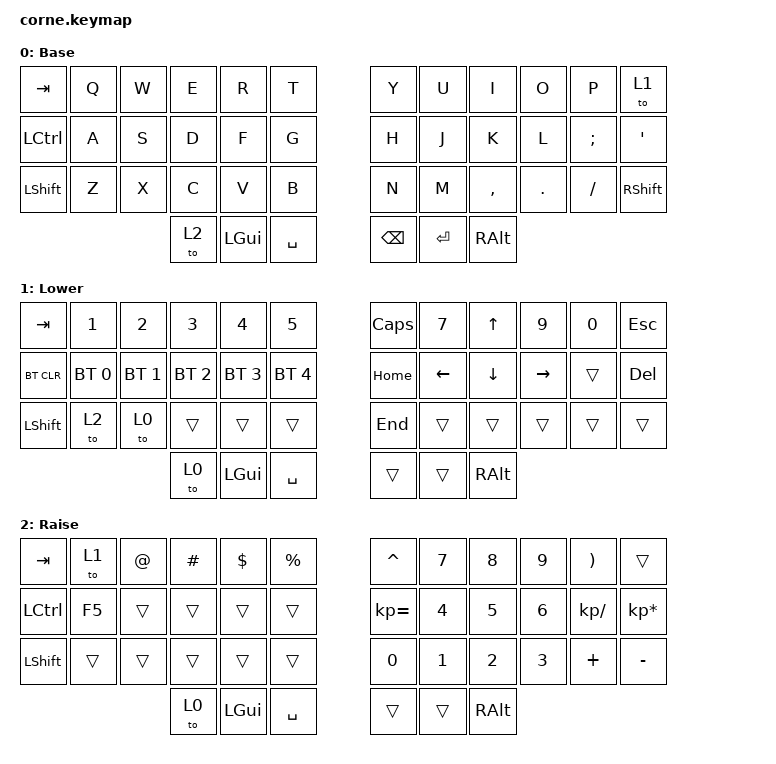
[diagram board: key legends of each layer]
/*
 * Copyright (c) 2020 The ZMK Contributors
 *
 * SPDX-License-Identifier: MIT
 */

#include <behaviors.dtsi>
#include <dt-bindings/zmk/keys.h>
#include <dt-bindings/zmk/bt.h>

/ {
        keymap {
                compatible = "zmk,keymap";

                default_layer {
// -----------------------------------------------------------------------------------------
// |  TAB |  Q  |  W  |  E  |  R  |  T  |   |  Y  |  U   |  I  |  O  |  P  | LWR  |
// | CTRL |  A  |  S  |  D  |  F  |  G  |   |  H  |  J   |  K  |  L  |  ;  |  '   |
// | SHFT |  Z  |  X  |  C  |  V  |  B  |   |  N  |  M   |  ,  |  .  |  /  | SHFT |
//                    | LWR | GUI | SPC |   | BCK | ENT  | ALT |
                        display-name = "Base";
                        bindings = <
   &kp TAB   &kp Q &kp W &kp E &kp R &kp T       &kp Y &kp U  &kp I     &kp O   &kp P    &to 1
   &kp LCTRL &kp A &kp S &kp D &kp F &kp G       &kp H &kp J  &kp K     &kp L   &kp SEMI &kp SQT
   &kp LSHFT &kp Z &kp X &kp C &kp V &kp B       &kp N &kp M  &kp COMMA &kp DOT &kp FSLH &kp RSHFT
                   &to 2 &kp LGUI &kp SPACE      &kp BSPC     &kp RET   &kp RALT
                        >;
                };
                lower_layer {
// -----------------------------------------------------------------------------------------
// |  TAB |  1  |  2  |  3  |  4  |  5  |   | CAP |     | UP  |  9  |  0  | ESC  |
// | BTCLR| BT1 | BT2 | BT3 | BT4 | BT5 |   |HOME | LFT | DWN | RGT |     |  DEL |
// | SHFT | LWR | RSE |     |     |     |   | END |     |     |     |     |      |
//                    | LWR | GUI | SPC |   | BCK | ENT | ALT |
                        display-name = "Lower";
                        bindings = <
   &kp TAB    &kp N1       &kp N2       &kp N3       &kp N4       &kp N5         &kp CAPS  &kp N7   &kp UP   &kp N9      &kp N0 &kp ESC
   &bt BT_CLR &bt BT_SEL 0 &bt BT_SEL 1 &bt BT_SEL 2 &bt BT_SEL 3 &bt BT_SEL 4   &kp HOME  &kp LEFT &kp DOWN &kp RIGHT   &trans &kp DEL
   &kp LSHFT  &to 2        &to 0       &trans       &trans       &trans         &kp END   &trans   &trans   &trans      &trans &trans
                          	        &to 0        &kp LGUI     &kp SPACE      &trans    &trans   &kp RALT
                        >;
                };

                raise_layer {
// -----------------------------------------------------------------------------------------
// |  TAB | LWR |  @  |  #  |  $  |  %  |   |  ^  |  7  |  8  |  9  |  )  | ESC  |
// | CTRL |  F5 |     |     |     |     |   |  =  |  4  |  5  |  6  |  /  |  *   |
// | SHFT |     |     |     |     |     |   |  0  |  1  |  2  |  3  |  +  |  -   |
//                    | RSE | GUI | SPC |   | BCK | ENT | ALT |
                        display-name = "Raise";
                        bindings = <
   &kp  TAB  &to 1    &kp AT &kp HASH &kp DLLR &kp PRCNT   &kp CARET     &kp N7  &kp N8 &kp N9 &kp RPAR      &trans
   &kp LCTRL &kp F5   &trans &trans   &trans   &trans      &kp KP_EQUAL  &kp N4  &kp N5 &kp N6 &kp KP_DIVIDE &kp KP_MULTIPLY
   &kp LSHFT &trans   &trans &trans   &trans   &trans      &kp N0        &kp N1  &kp N2 &kp N3 &kp PLUS      &kp MINUS
                    	     &to 0    &kp LGUI &kp SPACE   &trans        &trans  &kp RALT
                        >;
                };

                extra_1 {
                        status = "reserved";
                };

                extra_2 {
                        status = "reserved";
                };

                extra_3 {
                        status = "reserved";
                };
        };
};
